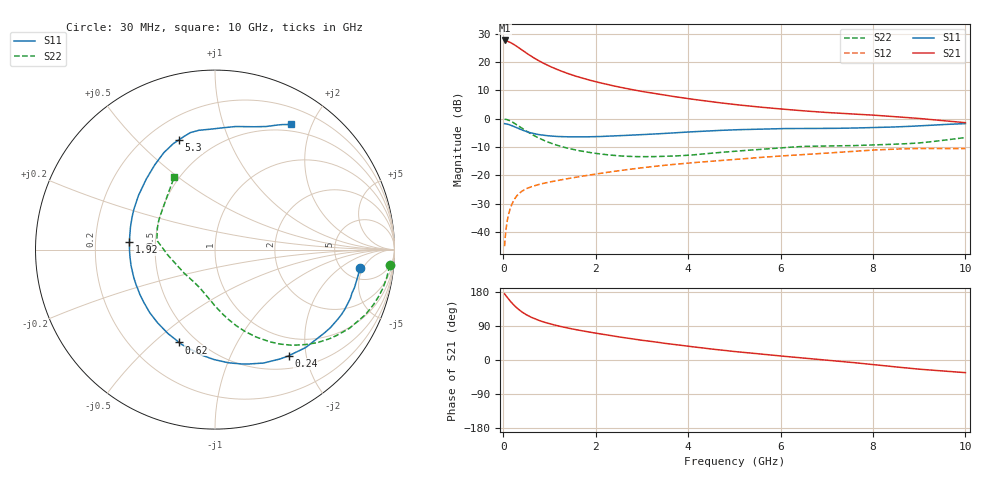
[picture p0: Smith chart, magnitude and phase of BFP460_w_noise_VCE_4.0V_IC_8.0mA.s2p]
! (c) 2016  Infineon Technologies AG, Munich
! Infineon Technologies  Discrete & RF Semiconductors
! BFP460
! VCE =  4.0 V,  IC =  8.0 mA
! Common Emitter S-Parameters:  Jan 2016
# GHz  S  MA  R  50
!  f  S11  S21  S12  S22
! GHz  MAG  ANG  MAG  ANG  MAG  ANG  MAG  ANG
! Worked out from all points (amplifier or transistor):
!   229 points, 30 MHz to 10 GHz, reference 50 ohm
!   highest |S21| = 27.6 dB at 30 MHz (marker M1)
!   |S21| within 3 dB of that: start of sweep to 373.3 MHz
!   unconditionally stable (mu >= 1): 2.648 GHz to 7.742 GHz
!   at 280 MHz: K = 0.23, MSG = 26.6 dB, |S12| = -27.6 dB
!   at 1.78 GHz: K = 0.88, MSG = 17.1 dB, |S12| = -20.1 dB
!   at 10 GHz: K = 0.95, MSG = 4.6 dB, |S12| = -10.6 dB
!   lowest NFmin = 0.89 dB at 450 MHz
!   S11 on the Smith chart (normalised r, x): 30 MHz: 7.00, -4.34; 240 MHz: 0.69, -1.69; 620 MHz: 0.41, -0.61; 1.92 GHz: 0.35, +0.04; 5.3 GHz: 0.32, +0.67; 10 GHz: 0.41, +1.70
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0.03  0.8135 -7.4  23.94 174.6  0.0056 82.6  0.977 -5.2
0.07  0.8008 -17.6  23.61 167.6  0.0127 79.1  0.9642 -11.4
0.15  0.7699 -36.3  22.15 155.6  0.0258 71.0  0.9118 -23.6
0.2  0.7436 -47.2  21.1 148.8  0.0327 66.3  0.8676 -30.4
0.24  0.72 -55.3  20.11 143.8  0.0376 62.7  0.829 -35.3
0.3  0.6876 -66.8  18.68 136.8  0.0439 58.4  0.7715 -42.2
0.36  0.6542 -76.9  17.25 130.8  0.0489 54.7  0.7152 -47.9
0.42  0.6248 -86.1  15.93 125.6  0.0532 51.7  0.6636 -53.0
0.5  0.5926 -97.2  14.35 119.5  0.0579 48.6  0.6018 -58.9
0.62  0.5544 -111.1  12.4 112.1  0.0633 45.5  0.5265 -65.8
0.8  0.5184 -128.1  10.16 103.2  0.0698 42.7  0.4413 -74.3
1  0.4949 -142.9  8.435 95.8  0.0758 41.5  0.3763 -81.4
1.3  0.4794 -159.9  6.677 86.9  0.0843 40.9  0.3144 -89.9
1.7  0.4759 -177.3  5.214 77.2  0.0959 40.8  0.2659 -99.1
1.92  0.4785 174.8  4.656 72.5  0.1025 40.7  0.2486 -103.9
2.6  0.5036 154.4  3.478 59.2  0.1234 39.2  0.2175 -120.2
3.4  0.5419 136.3  2.666 45.8  0.1472 36.0  0.2148 -140.1
5.1  0.6373 110.4  1.74 21.3  0.1927 28.1  0.2692 -175.0
5.3  0.6437 108.3  1.673 19.0  0.1986 27.1  0.276 -177.2
6.8  0.6704 94.7  1.315 1.9  0.2399 18.7  0.3266 170.5
8.4  0.7088 75.0  1.093 -17.1  0.2881 6.5  0.3514 153.6
10  0.816 58.7  0.847 -33.3  0.2957 -5.5  0.4631 119.4
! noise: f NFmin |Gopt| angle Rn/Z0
0.45  0.89  0.2  13  0.14
1.9  1.1  0.09  121  0.12
3.5  1.17  0.33  -142  0.11
